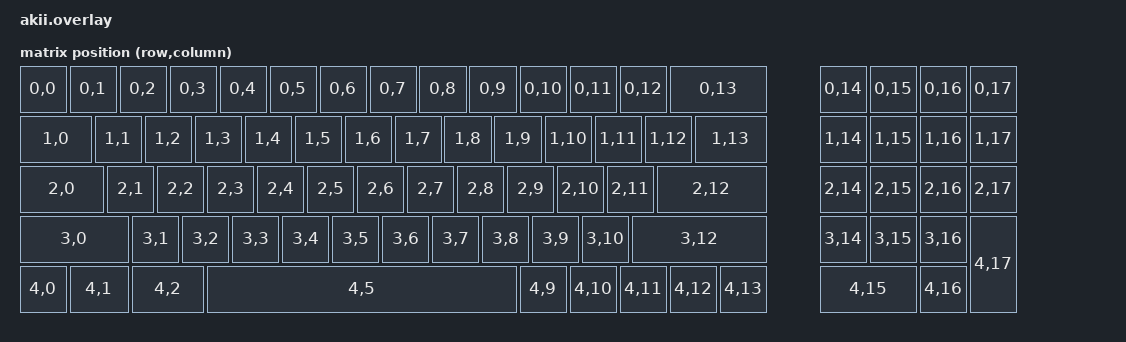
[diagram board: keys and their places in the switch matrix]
/*
 * AKII -- Apple Keyboard II replica
 * XIAO nRF52840 + 2x MCP23017 I2C GPIO expanders
 *
 * Hardware facts (verified against board netlist):
 *   mcp_c @ 0x20: GPA0-7 (exp pins 0-7)  = COL8..COL15
 *                 GPB7   (exp pin 15)    = COL16
 *                 GPB6   (exp pin 14)    = COL17
 *   mcp_r @ 0x24: GPA0-4 (exp pins 0-4)  = ROW0..ROW4   (A2=3V3 -> addr 0x24)
 *                 GPB7..GPB0 (15..8)     = COL0..COL7
 *
 * Scanning scheme: diodes are physically COL->ROW (QMK "COL2ROW").
 * MCP23017 has internal pull-UPS only (no pull-downs), so we scan
 * QMK-style: drive a row LOW, read columns with pull-ups, active low.
 * In ZMK terms that means diode-direction "row2col" (rows are outputs)
 * with every pin declared GPIO_ACTIVE_LOW.
 */

#include <dt-bindings/zmk/matrix_transform.h>
#include <dt-bindings/gpio/gpio.h>
#include <zephyr/dt-bindings/i2c/i2c.h>
#include <physical_layouts.dtsi>

&xiao_i2c {
    status = "okay";
    clock-frequency = <I2C_BITRATE_FAST>;   /* 400 kHz, MCP23017 supports it */

    /* Two-tier kscan owns both MCP23017s over raw I2C (no gpio-controller).
     * reg = mcp_c @0x20 (COL8-17); addr-rows = mcp_r @0x24 (ROW0-4 + COL0-7). */
    kscan0: kscan_akii@20 {
        compatible = "zmk,kscan-akii-twotier";
        reg = <0x20>;
        addr-rows = <0x24>;
        idle-poll-period-ms = <25>;
        active-poll-period-ms = <5>;
        idle-timeout-ms = <750>;
        debounce-press-ms = <5>;
        debounce-release-ms = <5>;
    };
};

/ {
    chosen {
        zmk,kscan = &kscan0;
        zmk,physical-layout = &physical_layout0;
    };

    default_transform: keymap_transform_0 {
        compatible = "zmk,matrix-transform";
        columns = <18>;
        rows = <5>;
        /* visual order, matches the keymap row by row */
        map = <
RC(0,0) RC(0,1) RC(0,2) RC(0,3) RC(0,4) RC(0,5) RC(0,6) RC(0,7) RC(0,8) RC(0,9) RC(0,10) RC(0,11) RC(0,12) RC(0,13) RC(0,14) RC(0,15) RC(0,16) RC(0,17)
RC(1,0) RC(1,1) RC(1,2) RC(1,3) RC(1,4) RC(1,5) RC(1,6) RC(1,7) RC(1,8) RC(1,9) RC(1,10) RC(1,11) RC(1,12) RC(1,13) RC(1,14) RC(1,15) RC(1,16) RC(1,17)
RC(2,0) RC(2,1) RC(2,2) RC(2,3) RC(2,4) RC(2,5) RC(2,6) RC(2,7) RC(2,8) RC(2,9) RC(2,10) RC(2,11) RC(2,12)          RC(2,14) RC(2,15) RC(2,16) RC(2,17)
RC(3,0) RC(3,1) RC(3,2) RC(3,3) RC(3,4) RC(3,5) RC(3,6) RC(3,7) RC(3,8) RC(3,9) RC(3,10)          RC(3,12)          RC(3,14) RC(3,15) RC(3,16) RC(4,17)
RC(4,0) RC(4,1) RC(4,2)                 RC(4,5)                 RC(4,9) RC(4,10) RC(4,11) RC(4,12) RC(4,13)                   RC(4,15) RC(4,16)
        >;
    };

    /* Physical key positions for ZMK Studio. Coordinates (centi-keyunits,
     * 1u = 100) lifted straight from the QMK plate layout, so they match the
     * real board: 2u Delete, 2.25u Return, 2.75u right Shift, 6.25u space,
     * 2u keypad-0, 2u-tall keypad Enter. Key order MUST match default_transform. */
    physical_layout0: physical_layout_0 {
        compatible = "zmk,physical-layout";
        display-name = "AKII";
        transform = <&default_transform>;
        keys
            //                       w   h     x    y  rot rx ry
            /* row 0 */
            = <&key_physical_attrs 100 100     0    0    0  0  0>   /* ESC   */
            , <&key_physical_attrs 100 100   100    0    0  0  0>   /* 1     */
            , <&key_physical_attrs 100 100   200    0    0  0  0>   /* 2     */
            , <&key_physical_attrs 100 100   300    0    0  0  0>   /* 3     */
            , <&key_physical_attrs 100 100   400    0    0  0  0>   /* 4     */
            , <&key_physical_attrs 100 100   500    0    0  0  0>   /* 5     */
            , <&key_physical_attrs 100 100   600    0    0  0  0>   /* 6     */
            , <&key_physical_attrs 100 100   700    0    0  0  0>   /* 7     */
            , <&key_physical_attrs 100 100   800    0    0  0  0>   /* 8     */
            , <&key_physical_attrs 100 100   900    0    0  0  0>   /* 9     */
            , <&key_physical_attrs 100 100  1000    0    0  0  0>   /* 0     */
            , <&key_physical_attrs 100 100  1100    0    0  0  0>   /* -     */
            , <&key_physical_attrs 100 100  1200    0    0  0  0>   /* =     */
            , <&key_physical_attrs 200 100  1300    0    0  0  0>   /* BSPC  */
            , <&key_physical_attrs 100 100  1600    0    0  0  0>   /* Clear */
            , <&key_physical_attrs 100 100  1700    0    0  0  0>   /* KP=   */
            , <&key_physical_attrs 100 100  1800    0    0  0  0>   /* KP/   */
            , <&key_physical_attrs 100 100  1900    0    0  0  0>   /* KP*   */
            /* row 1 */
            , <&key_physical_attrs 150 100     0  100    0  0  0>   /* TAB   */
            , <&key_physical_attrs 100 100   150  100    0  0  0>   /* Q     */
            , <&key_physical_attrs 100 100   250  100    0  0  0>   /* W     */
            , <&key_physical_attrs 100 100   350  100    0  0  0>   /* E     */
            , <&key_physical_attrs 100 100   450  100    0  0  0>   /* R     */
            , <&key_physical_attrs 100 100   550  100    0  0  0>   /* T     */
            , <&key_physical_attrs 100 100   650  100    0  0  0>   /* Y     */
            , <&key_physical_attrs 100 100   750  100    0  0  0>   /* U     */
            , <&key_physical_attrs 100 100   850  100    0  0  0>   /* I     */
            , <&key_physical_attrs 100 100   950  100    0  0  0>   /* O     */
            , <&key_physical_attrs 100 100  1050  100    0  0  0>   /* P     */
            , <&key_physical_attrs 100 100  1150  100    0  0  0>   /* [     */
            , <&key_physical_attrs 100 100  1250  100    0  0  0>   /* ]     */
            , <&key_physical_attrs 150 100  1350  100    0  0  0>   /* \     */
            , <&key_physical_attrs 100 100  1600  100    0  0  0>   /* KP7   */
            , <&key_physical_attrs 100 100  1700  100    0  0  0>   /* KP8   */
            , <&key_physical_attrs 100 100  1800  100    0  0  0>   /* KP9   */
            , <&key_physical_attrs 100 100  1900  100    0  0  0>   /* KP-   */
            /* row 2 */
            , <&key_physical_attrs 175 100     0  200    0  0  0>   /* CAPS  */
            , <&key_physical_attrs 100 100   175  200    0  0  0>   /* A     */
            , <&key_physical_attrs 100 100   275  200    0  0  0>   /* S     */
            , <&key_physical_attrs 100 100   375  200    0  0  0>   /* D     */
            , <&key_physical_attrs 100 100   475  200    0  0  0>   /* F     */
            , <&key_physical_attrs 100 100   575  200    0  0  0>   /* G     */
            , <&key_physical_attrs 100 100   675  200    0  0  0>   /* H     */
            , <&key_physical_attrs 100 100   775  200    0  0  0>   /* J     */
            , <&key_physical_attrs 100 100   875  200    0  0  0>   /* K     */
            , <&key_physical_attrs 100 100   975  200    0  0  0>   /* L     */
            , <&key_physical_attrs 100 100  1075  200    0  0  0>   /* ;     */
            , <&key_physical_attrs 100 100  1175  200    0  0  0>   /* '     */
            , <&key_physical_attrs 225 100  1275  200    0  0  0>   /* RET   */
            , <&key_physical_attrs 100 100  1600  200    0  0  0>   /* KP4   */
            , <&key_physical_attrs 100 100  1700  200    0  0  0>   /* KP5   */
            , <&key_physical_attrs 100 100  1800  200    0  0  0>   /* KP6   */
            , <&key_physical_attrs 100 100  1900  200    0  0  0>   /* KP+   */
            /* row 3 */
            , <&key_physical_attrs 225 100     0  300    0  0  0>   /* LSHFT */
            , <&key_physical_attrs 100 100   225  300    0  0  0>   /* Z     */
            , <&key_physical_attrs 100 100   325  300    0  0  0>   /* X     */
            , <&key_physical_attrs 100 100   425  300    0  0  0>   /* C     */
            , <&key_physical_attrs 100 100   525  300    0  0  0>   /* V     */
            , <&key_physical_attrs 100 100   625  300    0  0  0>   /* B     */
            , <&key_physical_attrs 100 100   725  300    0  0  0>   /* N     */
            , <&key_physical_attrs 100 100   825  300    0  0  0>   /* M     */
            , <&key_physical_attrs 100 100   925  300    0  0  0>   /* ,     */
            , <&key_physical_attrs 100 100  1025  300    0  0  0>   /* .     */
            , <&key_physical_attrs 100 100  1125  300    0  0  0>   /* /     */
            , <&key_physical_attrs 275 100  1225  300    0  0  0>   /* RSHFT */
            , <&key_physical_attrs 100 100  1600  300    0  0  0>   /* KP1   */
            , <&key_physical_attrs 100 100  1700  300    0  0  0>   /* KP2   */
            , <&key_physical_attrs 100 100  1800  300    0  0  0>   /* KP3   */
            , <&key_physical_attrs 100 200  1900  300    0  0  0>   /* KPENT */
            /* row 4 */
            , <&key_physical_attrs 100 100     0  400    0  0  0>   /* LCTRL */
            , <&key_physical_attrs 125 100   100  400    0  0  0>   /* LALT  */
            , <&key_physical_attrs 150 100   225  400    0  0  0>   /* LGUI  */
            , <&key_physical_attrs 625 100   375  400    0  0  0>   /* SPACE */
            , <&key_physical_attrs 100 100  1000  400    0  0  0>   /* FN    */
            , <&key_physical_attrs 100 100  1100  400    0  0  0>   /* LEFT  */
            , <&key_physical_attrs 100 100  1200  400    0  0  0>   /* DOWN  */
            , <&key_physical_attrs 100 100  1300  400    0  0  0>   /* UP    */
            , <&key_physical_attrs 100 100  1400  400    0  0  0>   /* RIGHT */
            , <&key_physical_attrs 200 100  1600  400    0  0  0>   /* KP0   */
            , <&key_physical_attrs 100 100  1800  400    0  0  0>   /* KP.   */
            ;
    };

};
